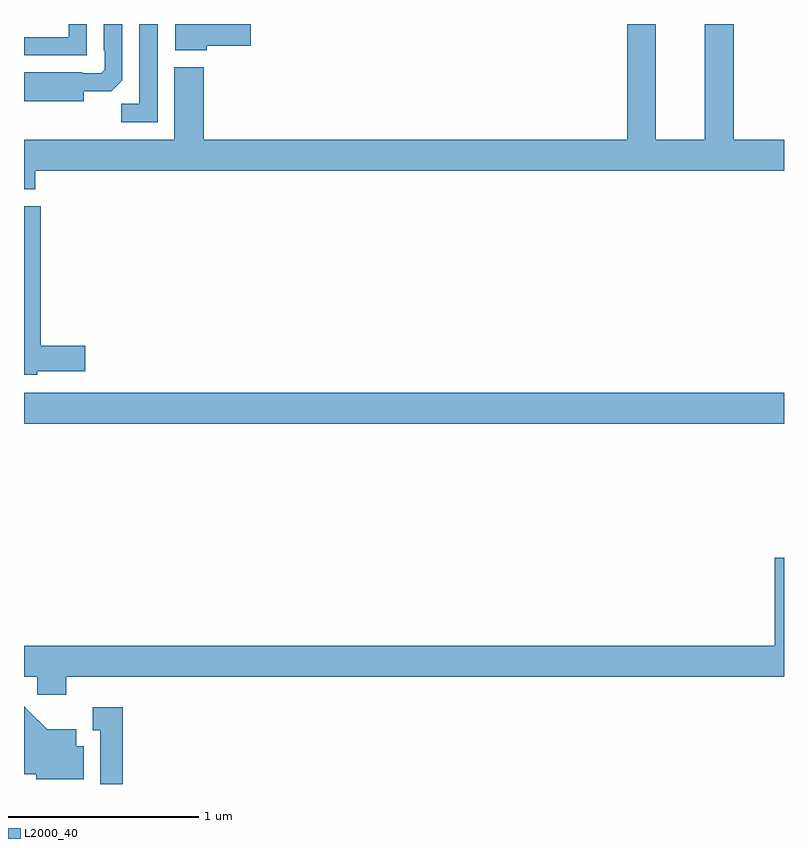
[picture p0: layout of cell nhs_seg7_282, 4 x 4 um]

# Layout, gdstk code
import gdstk
lib = gdstk.Library(unit=1e-6, precision=1e-09)
def R(c, l, rs):  # rectangles x0, y0, x1, y1
    for r in rs: c.add(gdstk.rectangle(r[:2], r[2:], *l))
def P(c, l, *ps):  # polygons
    for p in ps: c.add(gdstk.Polygon(p, *l))
L2000_40 = (2000, 40)

nhs_seg7_282 = lib.new_cell('nhs_seg7_282')
R(nhs_seg7_282, L2000_40, [(131,1053.896,135,1054.06)])
P(nhs_seg7_282, L2000_40, [(135,1055.392),(134.735,1055.392),(134.735,1056),(134.582,1056),(134.582,1055.392),(134.326,1055.392),(134.326,1056),(134.174,1056),(134.174,1055.392),(131.945,1055.392),(131.945,1055.773),(131.792,1055.773),(131.792,1055.392),(131,1055.392),(131,1055.129),(131.06,1055.129),(131.06,1055.228),(135,1055.228)],
  [(131.703,1056),(131.607,1056),(131.607,1055.579),(131.512,1055.579),(131.512,1055.484),(131.703,1055.484)],
  [(131.314,1055.645),(131.458,1055.645),(131.517,1055.704),(131.517,1056),(131.421,1056),(131.421,1055.86),(131.424,1055.86),(131.424,1055.76),(131.406,1055.742),(131.306,1055.742),(131.306,1055.746),(131,1055.746),(131,1055.594),(131.314,1055.594)],
  [(131.331,1056),(131.235,1056),(131.235,1055.931),(131,1055.931),(131,1055.835),(131.331,1055.835)],
  [(131.962,1055.885),(132.193,1055.885),(132.193,1056),(131.795,1056),(131.795,1055.861),(131.962,1055.861)],
  [(131.07,1054.172),(131.323,1054.172),(131.323,1054.307),(131.087,1054.307),(131.087,1055.042),(131,1055.042),(131,1054.154),(131.07,1054.154)],
  [(131.222,1052.564),(135,1052.564),(135,1053.19),(134.951,1053.19),(134.951,1052.728),(131,1052.728),(131,1052.564),(131.07,1052.564),(131.07,1052.469),(131.222,1052.469)],
  [(131.314,1052.2),(131.275,1052.2),(131.275,1052.287),(131.123,1052.287),(131.02,1052.389),(131,1052.409),(131,1052.051),(131.064,1052.051),(131.064,1052.024),(131.314,1052.024)],
  [(131.521,1052.404),(131.363,1052.404),(131.363,1052.283),(131.402,1052.283),(131.402,1052),(131.521,1052)])

lib.write_gds('nhs_seg7_282.gds')
